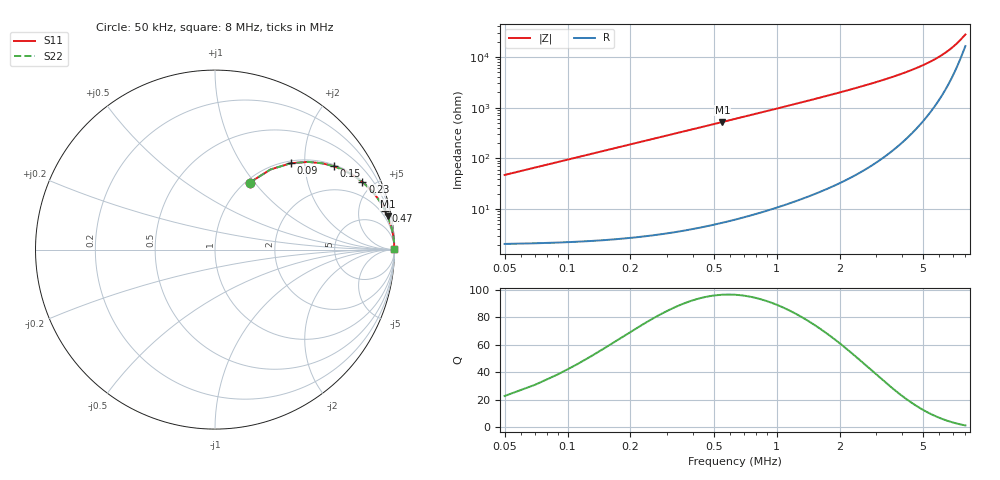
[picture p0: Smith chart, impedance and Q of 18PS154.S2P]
! Coilcraft 1812PS-154 Power Chip Inductor
! 1 October 2002
# MHZ S MA R 50
!Freq  MagS11  AngS11  MagS21  AngS21  MagS12  AngS12  MagS22  AngS22
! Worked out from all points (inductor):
!   399 points, 50 kHz to 8 MHz, reference 50 ohm
!   read as one part in series: L = 150 uH near 70 kHz
!   highest Q = 96.5 at 550 kHz (marker M1), where L = 151 uH
!   S11 on the Smith chart (normalised r, x): 50 kHz: 1.04, +0.94; 90 kHz: 1.04, +1.70; 150 kHz: 1.05, +2.83; 230 kHz: 1.06, +4.34; 470 kHz: 1.09, +8.88; 8 MHz: open
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0.05  0.4196 62.7  0.8895 -24.8  0.8895 -24.8  0.4196 62.7
0.07  0.5429 55.3  0.8225 -32.9  0.8225 -32.9  0.5429 55.3
0.09  0.6389 48.8  0.7529 -39.7  0.7529 -39.7  0.6389 48.8
0.11  0.7121 43.3  0.6866 -45.4  0.6866 -45.4  0.7121 43.3
0.15  0.8099 34.9  0.5727 -54.1  0.5727 -54.1  0.8099 34.9
0.19  0.8677 29.0  0.4843 -60.2  0.4843 -60.2  0.8677 29.0
0.23  0.9036 24.6  0.4165 -64.6  0.4165 -64.6  0.9036 24.6
0.27  0.927 21.3  0.3639 -68.0  0.3639 -68.0  0.927 21.3
0.33  0.949 17.7  0.3047 -71.6  0.3047 -71.6  0.949 17.7
0.47  0.9734 12.7  0.2191 -76.7  0.2191 -76.7  0.9734 12.7
0.55  0.9801 10.9  0.1884 -78.5  0.1884 -78.5  0.9801 10.9
0.71  0.9877 8.4  0.1467 -81.0  0.1467 -81.0  0.9877 8.4
0.91  0.9922 6.6  0.1145 -82.8  0.1145 -82.8  0.9922 6.6
1.13  0.9947 5.3  0.0919 -84.1  0.0919 -84.1  0.9947 5.3
1.39  0.9963 4.3  0.07421 -85.0  0.07421 -85.0  0.9963 4.3
1.97  0.9979 2.9  0.05114 -86.1  0.05114 -86.1  0.9979 2.9
2.71  0.9986 2.0  0.03551 -86.7  0.03551 -86.7  0.9986 2.0
4.03  0.9988 1.2  0.021 -86.2  0.021 -86.2  0.9988 1.2
5.35  0.9987 0.7  0.01284 -83.8  0.01284 -83.8  0.9987 0.7
6.69  0.9983 0.4  0.007311 -76.6  0.007311 -76.6  0.9983 0.4
7.29  0.9981 0.3  0.005406 -69.6  0.005406 -69.6  0.9981 0.3
8  0.9979 0.2  0.00362 -53.6  0.00362 -53.6  0.9979 0.2
